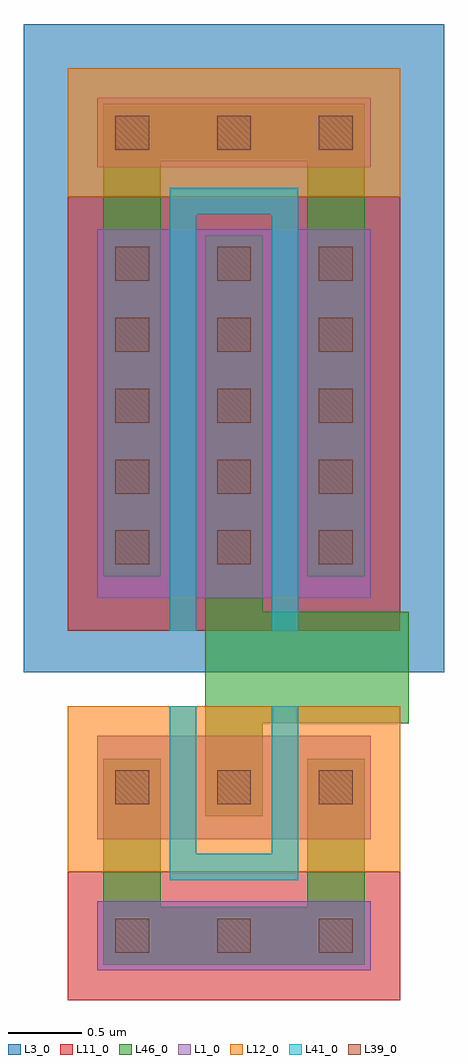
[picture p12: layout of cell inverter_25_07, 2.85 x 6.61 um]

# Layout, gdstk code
import gdstk
lib = gdstk.Library(unit=1e-6, precision=1e-09)
def R(c, l, rs):  # rectangles x0, y0, x1, y1
    for r in rs: c.add(gdstk.rectangle(r[:2], r[2:], *l))
def A(c, l, x, y, w, h, nx, ny, dx, dy):  # array of equal rectangles
    R(c, l, [(x+i*dx, y+j*dy, x+i*dx+w, y+j*dy+h) for i in range(nx) for j in range(ny)])
L1_0 = (1, 0)
L3_0 = (3, 0)
L11_0 = (11, 0)
L12_0 = (12, 0)
L39_0 = (39, 0)
L41_0 = (41, 0)
L46_0 = (46, 0)

inverter_25_07 = lib.new_cell('inverter_25_07')
R(inverter_25_07, L1_0, [(0.145,-2.59,1.995,-2.12), (0.145,-1.7,1.995,-1), (0.145,-0.07,1.995,2.43), (0.145,2.85,1.995,3.32)])
R(inverter_25_07, L3_0, [(-0.355,-0.57,2.495,3.82)])
R(inverter_25_07, L11_0, [(-0.055,-2.79,2.195,-1.92), (-0.055,-0.29,2.195,2.65)])
R(inverter_25_07, L12_0, [(-0.055,-1.92,2.195,-0.8), (-0.055,2.65,2.195,3.52)])
A(inverter_25_07, L39_0, 0.265, -2.47, 0.23, 0.23, 3, 2, 0.69, 1.005)
A(inverter_25_07, L39_0, 0.265, 0.16, 0.23, 0.23, 3, 5, 0.69, 0.48)
A(inverter_25_07, L39_0, 0.265, 2.97, 0.23, 0.23, 3, 1, 0.69, 0)
R(inverter_25_07, L41_0, [(0.635,-1.98,1.505,-1.8), (0.635,-1.98,0.815,-0.8), (1.325,-1.98,1.505,-0.8), (0.635,-0.29,0.815,2.71), (1.325,-0.29,1.505,2.71), (0.635,2.53,1.505,2.71)])
R(inverter_25_07, L46_0, [(0.185,-2.55,1.955,-2.16), (0.185,-2.55,0.575,-1.155), (1.565,-2.55,1.955,-1.155), (0.875,-1.545,1.265,2.39), (0.875,-0.915,2.255,-0.16), (0.185,0.08,0.575,3.28), (1.565,0.08,1.955,3.28), (0.185,2.89,0.575,3.28), (0.185,2.89,1.955,3.28), (1.565,2.89,1.955,3.28)])

lib.write_gds('inverter_25_07.gds')
